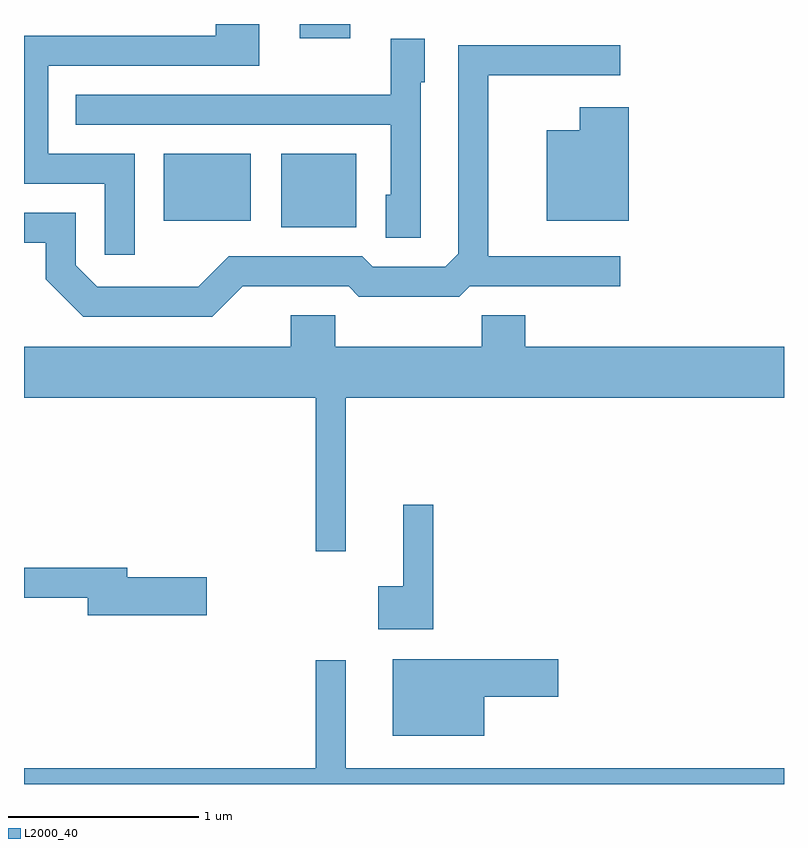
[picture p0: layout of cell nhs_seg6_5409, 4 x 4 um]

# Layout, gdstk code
import gdstk
lib = gdstk.Library(unit=1e-6, precision=1e-09)
def R(c, l, rs):  # rectangles x0, y0, x1, y1
    for r in rs: c.add(gdstk.rectangle(r[:2], r[2:], *l))
def P(c, l, *ps):  # polygons
    for p in ps: c.add(gdstk.Polygon(p, *l))
L2000_40 = (2000, 40)

nhs_seg6_5409 = lib.new_cell('nhs_seg6_5409')
R(nhs_seg6_5409, L2000_40, [(350.966,1613.091,351.359,1613.479), (350.346,1613.126,350.804,1613.479), (351.061,1614.086,351.329,1614.162)])
P(nhs_seg6_5409, L2000_40, [(350.194,1613.479),(349.739,1613.479),(349.739,1613.941),(350.849,1613.941),(350.849,1614.162),(350.621,1614.162),(350.621,1614.099),(349.611,1614.099),(349.611,1613.321),(350.036,1613.321),(350.036,1612.948),(350.194,1612.948)],
  [(351.699,1613.856),(351.719,1613.856),(351.719,1614.084),(351.541,1614.084),(351.541,1613.789),(349.883,1613.789),(349.883,1613.631),(351.541,1613.631),(351.541,1613.264),(351.516,1613.264),(351.516,1613.036),(351.699,1613.036)],
  [(350.762,1612.781),(351.319,1612.781),(351.374,1612.726),(351.902,1612.726),(351.957,1612.781),(352.748,1612.781),(352.748,1612.939),(352.054,1612.939),(352.054,1613.891),(352.748,1613.891),(352.748,1614.049),(351.896,1614.049),(351.896,1612.952),(351.829,1612.884),(351.447,1612.884),(351.392,1612.939),(350.689,1612.939),(350.529,1612.779),(349.997,1612.779),(349.884,1612.892),(349.884,1613.169),(349.611,1613.169),(349.611,1613.011),(349.726,1613.011),(349.726,1612.819),(349.924,1612.621),(350.602,1612.621)],
  [(352.794,1613.724),(352.536,1613.724),(352.536,1613.604),(352.361,1613.604),(352.361,1613.126),(352.794,1613.126)],
  [(351.304,1612.196),(353.611,1612.196),(353.611,1612.464),(352.249,1612.464),(352.249,1612.629),(352.021,1612.629),(352.021,1612.464),(351.249,1612.464),(351.249,1612.629),(351.016,1612.629),(351.016,1612.464),(349.611,1612.464),(349.611,1612.196),(351.146,1612.196),(351.146,1611.388),(351.304,1611.388)],
  [(351.764,1611.633),(351.606,1611.633),(351.606,1611.204),(351.476,1611.204),(351.476,1610.976),(351.764,1610.976)],
  [(350.574,1611.249),(350.154,1611.249),(350.154,1611.299),(349.611,1611.299),(349.611,1611.141),(349.946,1611.141),(349.946,1611.051),(350.574,1611.051)],
  [(352.034,1610.621),(352.424,1610.621),(352.424,1610.819),(351.551,1610.819),(351.551,1610.416),(352.034,1610.416)],
  [(353.611,1610.244),(351.304,1610.244),(351.304,1610.813),(351.146,1610.813),(351.146,1610.244),(349.611,1610.244),(349.611,1610.162),(353.611,1610.162)])

lib.write_gds('nhs_seg6_5409.gds')
